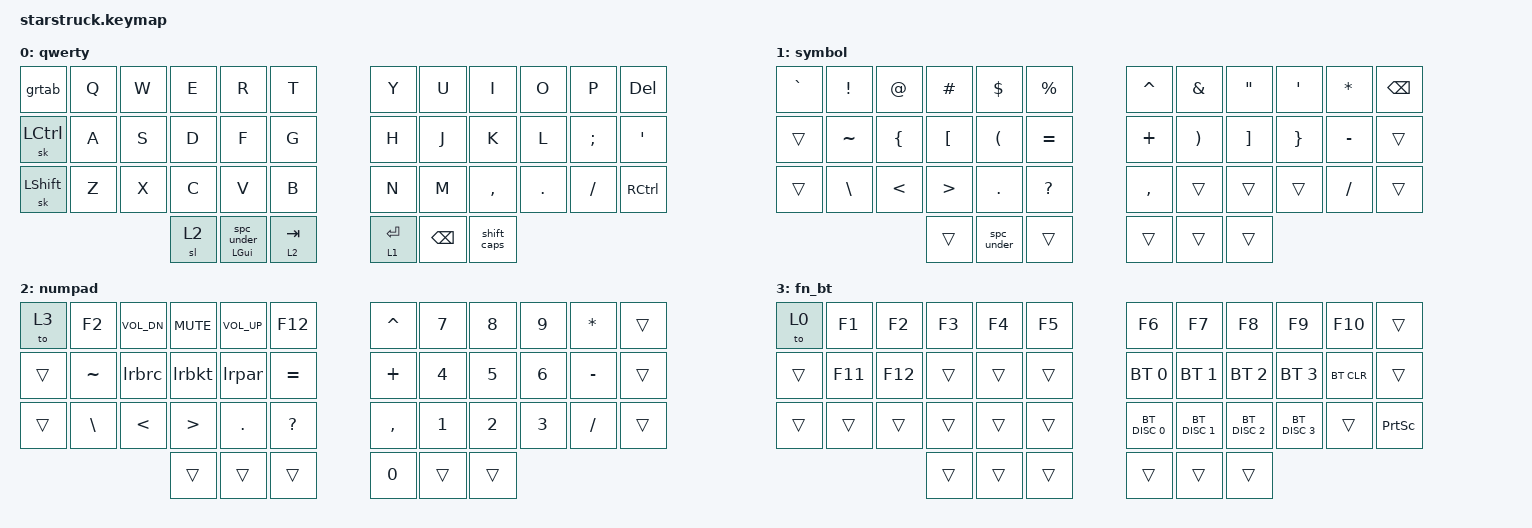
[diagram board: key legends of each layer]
#include <behaviors.dtsi>
#include <dt-bindings/zmk/bt.h>
#include <dt-bindings/zmk/keys.h>

/ {
    combos {
        compatible = "zmk,combos";

        combo_jk_esc {
            bindings = <&kp ESC>;
            key-positions = <20 19>;
        };

        combo_switch_lang {
            bindings = <&kp LG(SPACE)>;
            key-positions = <37 40>;
            require-prior-idle-ms = <250>;
        };

        combo_rhand_up {
            bindings = <&kp UP>;
            key-positions = <20 8>;
        };

        combo_rhand_left {
            bindings = <&kp LEFT>;
            key-positions = <18 19>;
        };

        combo_rhand_down {
            bindings = <&kp DOWN>;
            key-positions = <20 32>;
        };

        combo_rhand_right {
            bindings = <&kp RIGHT>;
            key-positions = <20 21>;
        };

        combo_home {
            bindings = <&kp HOME>;
            key-positions = <7 19>;
            require-prior-idle-ms = <250>;
        };

        combo_end {
            bindings = <&kp END>;
            key-positions = <9 21>;
            require-prior-idle-ms = <250>;
        };

        combo_pg_up {
            bindings = <&kp PG_UP>;
            key-positions = <31 32>;
            require-prior-idle-ms = <250>;
        };

        combo_pg_dn {
            bindings = <&kp PG_DN>;
            key-positions = <33 34>;
            require-prior-idle-ms = <250>;
        };

        combo_undo {
            bindings = <&kp LC(Z)>;
            key-positions = <30 18>;
            require-prior-idle-ms = <250>;
        };

        combo_cut {
            bindings = <&kp LC(X)>;
            key-positions = <31 19>;
            require-prior-idle-ms = <250>;
        };

        combo_copy {
            bindings = <&kp LC(C)>;
            key-positions = <33 21>;
            require-prior-idle-ms = <250>;
        };

        combo_paste {
            bindings = <&kp LC(V)>;
            key-positions = <34 22>;
            require-prior-idle-ms = <250>;
        };

        combo_select_all {
            bindings = <&kp LC(A)>;
            key-positions = <22 21>;
            require-prior-idle-ms = <250>;
        };

        combo_bookmark {
            bindings = <&kp LC(D)>;
            key-positions = <15 27>;
            require-prior-idle-ms = <250>;
        };

        combo_find {
            bindings = <&kp LC(F)>;
            key-positions = <28 16>;
            require-prior-idle-ms = <250>;
        };

        combo_ctrl_shift {
            bindings = <&sk LC(LSHIFT)>;
            key-positions = <6 18>;
            require-prior-idle-ms = <250>;
        };

        combo_sym_1 {
            bindings = <&kp EXCL>;
            key-positions = <1 13>;
            require-prior-idle-ms = <250>;
        };

        combo_sym_2 {
            bindings = <&kp AT>;
            key-positions = <2 14>;
            require-prior-idle-ms = <250>;
        };

        combo_sym_3 {
            bindings = <&kp POUND>;
            key-positions = <3 15>;
            require-prior-idle-ms = <250>;
        };

        combo_sym_4 {
            bindings = <&kp DOLLAR>;
            key-positions = <4 16>;
            require-prior-idle-ms = <250>;
        };

        combo_sym_5 {
            bindings = <&kp PERCENT>;
            key-positions = <5 17>;
            require-prior-idle-ms = <250>;
        };

        combo_dqt {
            bindings = <&kp DQT>;
            key-positions = <15 16>;
            require-prior-idle-ms = <250>;
        };

        combo_sqt {
            bindings = <&kp SQT>;
            key-positions = <13 14>;
            require-prior-idle-ms = <250>;
        };

        combo_lalt {
            bindings = <&sk LALT>;
            key-positions = <37 38>;
            require-prior-idle-ms = <250>;
        };

        combo_printscreen {
            bindings = <&kp PSCRN>;
            key-positions = <40 39>;
            require-prior-idle-ms = <250>;
        };

        combo_eq {
            bindings = <&kp EQUAL>;
            key-positions = <17 16>;
            require-prior-idle-ms = <250>;
        };

        combo_lpar {
            bindings = <&kp LPAR>;
            key-positions = <3 4>;
            require-prior-idle-ms = <250>;
        };

        combo_lbkt {
            bindings = <&kp LBKT>;
            key-positions = <3 2>;
            require-prior-idle-ms = <250>;
        };

        combo_lbrc {
            bindings = <&kp LBRC>;
            key-positions = <1 2>;
            require-prior-idle-ms = <250>;
        };

        combo_caret {
            bindings = <&kp CARET>;
            key-positions = <25 13>;
            require-prior-idle-ms = <250>;
        };

        combo_amps {
            bindings = <&kp AMPS>;
            key-positions = <26 14>;
            require-prior-idle-ms = <250>;
        };

        combo_star {
            bindings = <&kp STAR>;
            key-positions = <17 29>;
            require-prior-idle-ms = <250>;
        };

        combo_plus {
            bindings = <&kp PLUS>;
            key-positions = <26 25>;
            require-prior-idle-ms = <250>;
        };

        combo_minus {
            bindings = <&kp MINUS>;
            key-positions = <27 28>;
            require-prior-idle-ms = <250>;
        };

        combo_tilde {
            bindings = <&kp TILDE>;
            key-positions = <13 12>;
            require-prior-idle-ms = <250>;
        };

        combo_pipe {
            bindings = <&kp PIPE>;
            key-positions = <26 27>;
            require-prior-idle-ms = <250>;
        };

        combo_backslash {
            bindings = <&kp BSLH>;
            key-positions = <25 24>;
            require-prior-idle-ms = <250>;
        };

        combo_rpar {
            bindings = <&kp RPAR>;
            key-positions = <7 8>;
            require-prior-idle-ms = <250>;
        };

        combo_rbkt {
            bindings = <&kp RBKT>;
            key-positions = <8 9>;
            require-prior-idle-ms = <250>;
        };

        combo_rbrc {
            bindings = <&kp RBRC>;
            key-positions = <9 10>;
            require-prior-idle-ms = <250>;
        };

        combo_lt {
            bindings = <&kp LT>;
            key-positions = <5 4>;
            require-prior-idle-ms = <250>;
        };

        combo_gt {
            bindings = <&kp GT>;
            key-positions = <6 7>;
            require-prior-idle-ms = <250>;
        };
    };

    behaviors {
        shift_caps: shift_caps {
            compatible = "zmk,behavior-mod-morph";
            label = "Shift/Caps";
            bindings = <&qsk RSHFT>, <&caps_word>;

            #binding-cells = <0>;
            mods = <(MOD_RSFT)>;
        };

        qsk: qsk {
            compatible = "zmk,behavior-sticky-key";
            label = "Quick release sticky key";
            bindings = <&kp>;
            #binding-cells = <1>;
            quick-release;
            release-after-ms = <1000>;
        };

        spc_under: spc_under {
            compatible = "zmk,behavior-mod-morph";
            label = "Space/Underscore";
            bindings = <&kp SPACE>, <&kp UNDER>;

            #binding-cells = <0>;
            mods = <(MOD_RSFT|MOD_LSFT)>;
        };

        mt_spc_: mt_spc_ {
            compatible = "zmk,behavior-hold-tap";
            label = "Mod/Space/Underscore";
            bindings = <&kp>, <&spc_under>;

            #binding-cells = <2>;
            tapping-term-ms = <200>;
            flavor = "balanced";
        };

        lrpar: lrpar {
            compatible = "zmk,behavior-mod-morph";
            label = "(|)";
            bindings = <&kp LPAR>, <&kp RPAR>;

            #binding-cells = <0>;
            mods = <(MOD_RSFT|MOD_LSFT)>;
        };

        lrbkt: lrbkt {
            compatible = "zmk,behavior-mod-morph";
            label = "[|]";
            bindings = <&kp LBKT>, <&kp RBKT>;

            #binding-cells = <0>;
            mods = <(MOD_RSFT|MOD_LSFT)>;
        };

        lrbrc: lrbrc {
            compatible = "zmk,behavior-mod-morph";
            label = "{|}";
            bindings = <&kp LBRC>, <&kp RBRC>;

            #binding-cells = <0>;
            mods = <(MOD_RSFT|MOD_LSFT)>;
        };

        grtab: grtab {
            compatible = "zmk,behavior-mod-morph";
            label = "Grave/Tab";
            bindings = <&kp TAB>, <&kp GRAVE>;

            #binding-cells = <0>;
            mods = <(MOD_RSFT)>;
        };
    };

    keymap {
        compatible = "zmk,keymap";

        qwerty {
            bindings = <
&grtab     &kp Q  &kp W  &kp E  &kp R            &kp T        &kp Y        &kp U     &kp I        &kp O    &kp P          &kp DEL
&sk LCTRL  &kp A  &kp S  &kp D  &kp F            &kp G        &kp H        &kp J     &kp K        &kp L    &kp SEMICOLON  &kp SQT
&sk LSHFT  &kp Z  &kp X  &kp C  &kp V            &kp B        &kp N        &kp M     &kp COMMA    &kp DOT  &kp FSLH       &kp RCTRL
                         &sl 2  &mt_spc_ LGUI 0  &lt 2 TAB    &lt 1 ENTER  &kp BSPC  &shift_caps
            >;
        };

        symbol {
            bindings = <
&kp GRAVE  &kp EXCLAMATION  &kp AT_SIGN  &kp POUND  &kp DOLLAR  &kp PERCENT     &kp CARET  &kp AMPERSAND  &kp DQT   &kp SQT   &kp STAR   &kp BACKSPACE
&trans     &kp TILDE        &kp LBRC     &kp LBKT   &kp LPAR    &kp EQUAL       &kp PLUS   &kp RPAR       &kp RBKT  &kp RBRC  &kp MINUS  &trans
&trans     &kp BSLH         &kp LT       &kp GT     &kp DOT     &kp QUESTION    &kp COMMA  &trans         &trans    &trans    &kp FSLH   &trans
                                         &trans     &spc_under  &trans          &trans     &trans         &trans
            >;
        };

        numpad {
            bindings = <
&to 3   &kp F2     &kp C_VOL_DN  &kp C_MUTE  &kp C_VOL_UP  &kp F12      &kp CARET  &kp N7  &kp N8  &kp N9  &kp STAR   &trans
&trans  &kp TILDE  &lrbrc        &lrbkt      &lrpar        &kp EQUAL    &kp PLUS   &kp N4  &kp N5  &kp N6  &kp MINUS  &trans
&trans  &kp BSLH   &kp LT        &kp GT      &kp DOT       &kp QMARK    &kp COMMA  &kp N1  &kp N2  &kp N3  &kp FSLH   &trans
                                 &trans      &trans        &trans       &kp N0     &trans  &trans
            >;
        };

        fn_bt {
            bindings = <
&to 0   &kp F1   &kp F2   &kp F3  &kp F4  &kp F5    &kp F6         &kp F7         &kp F8         &kp F9         &kp F10     &trans
&trans  &kp F11  &kp F12  &trans  &trans  &trans    &bt BT_SEL 0   &bt BT_SEL 1   &bt BT_SEL 2   &bt BT_SEL 3   &bt BT_CLR  &trans
&trans  &trans   &trans   &trans  &trans  &trans    &bt BT_DISC 0  &bt BT_DISC 1  &bt BT_DISC 2  &bt BT_DISC 3  &trans      &kp PRINTSCREEN
                          &trans  &trans  &trans    &trans         &trans         &trans
            >;
        };
    };

    conditional_layers { compatible = "zmk,conditional-layers"; };
};
